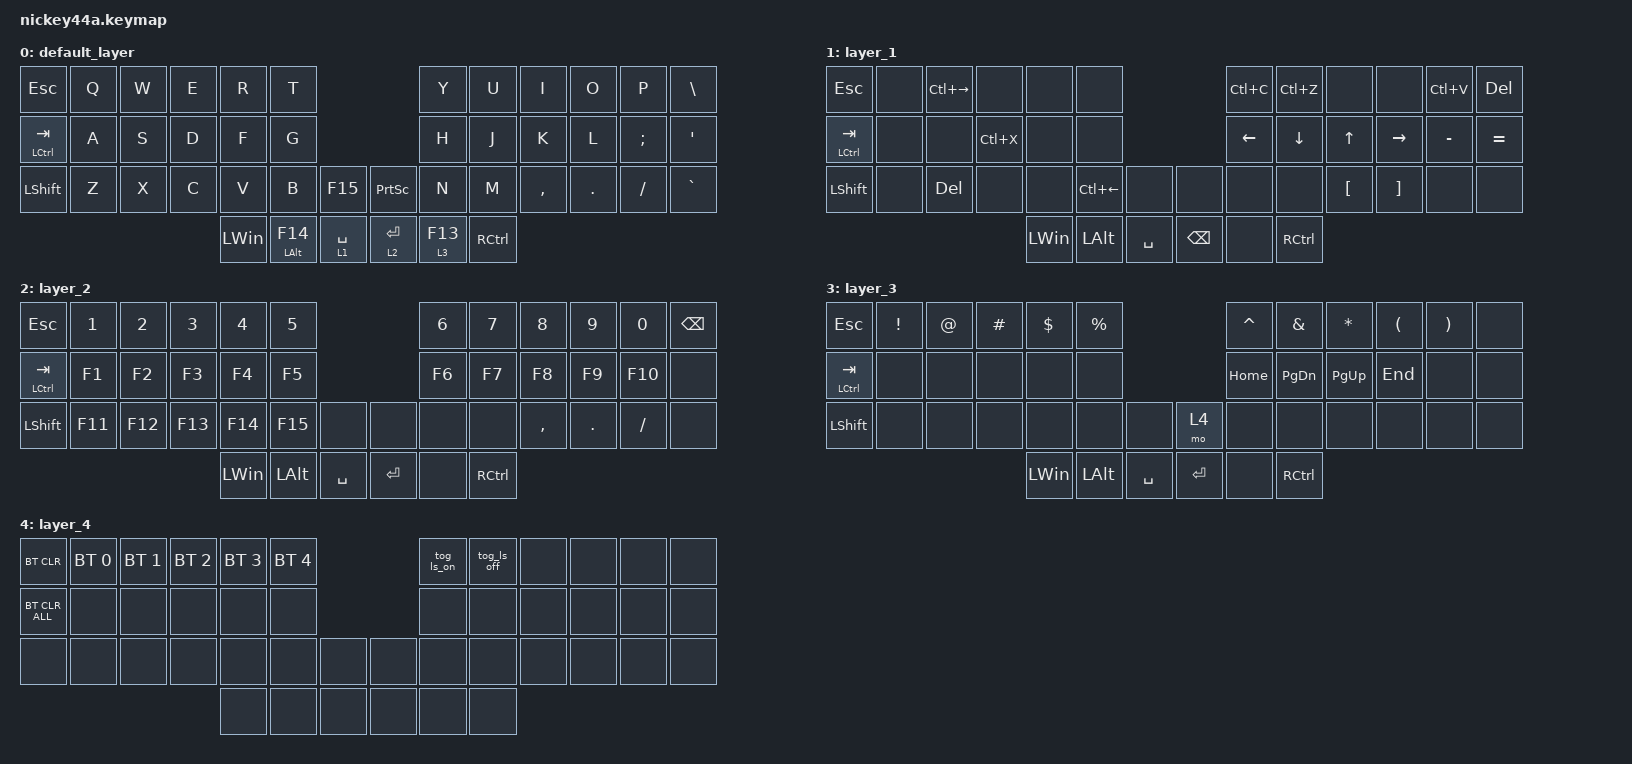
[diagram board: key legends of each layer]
#include <layout_shift.dtsi>
#include <behaviors.dtsi>
#include <dt-bindings/zmk/bt.h>
#include <dt-bindings/zmk/keys.h>

&tog_ls { layout-maps = <&layout_shift_map_us_to_jis>; };

&tog_ls_on { layout-maps = <&layout_shift_map_us_to_jis>; };

&tog_ls_off { layout-maps = <&layout_shift_map_us_to_jis>; };

&mt {
    flavor = "balanced";
    quick-tap-ms = <0>;
};

&lt {
    quick-tap-ms = <300>;
    flavor = "balanced";
};

/ {
    combos { compatible = "zmk,combos"; };

    macros {
        to_layer_0: to_layer_0 {
            compatible = "zmk,behavior-macro-one-param";
            #binding-cells = <1>;
            bindings = <&to 0 &macro_param_1to1 &kp MACRO_PLACEHOLDER>;
            label = "TO_LAYER_0";
        };
    };

    behaviors {
        // Define these after all includes: Keymap Editor may reorder includes.
        // Keep the standard key-press device for ZMK core components.

        original_key_press: original_key_press {
            compatible = "zmk,behavior-key-press";
            #binding-cells = <1>;
            label = "KEY_PRESS";
        };

        // Override &kp here so US-to-JIS conversion survives include sorting.

        kp: key_press {
            compatible = "zmk,behavior-layout-shift-key-press";
            #binding-cells = <1>;
            label = "LAYOUT_SHIFT_KEY_PRESS";
        };

        lt_to_layer_0: lt_to_layer_0 {
            compatible = "zmk,behavior-hold-tap";
            label = "LAYER_TAP_TO_0";
            bindings = <&mo>, <&to_layer_0>;

            #binding-cells = <2>;
            tapping-term-ms = <200>;
        };
    };

    keymap {
        compatible = "zmk,keymap";

        default_layer {
            bindings = <
&kp ESC        &kp Q  &kp W  &kp E  &kp R         &kp T                                             &kp Y      &kp U      &kp I      &kp O    &kp P     &kp BACKSLASH
&mt LCTRL TAB  &kp A  &kp S  &kp D  &kp F         &kp G                                             &kp H      &kp J      &kp K      &kp L    &kp SEMI  &kp SINGLE_QUOTE
&kp LSHFT      &kp Z  &kp X  &kp C  &kp V         &kp B             &kp F15        &kp PRINTSCREEN  &kp N      &kp M      &kp COMMA  &kp DOT  &kp FSLH  &kp GRAVE
                                    &kp LEFT_WIN  &mt LEFT_ALT F14  &lt 1 SPACE    &lt 2 ENTER      &lt 3 F13  &kp RCTRL
            >;
        };

        layer_1 {
            bindings = <
&kp ESCAPE      &none  &kp LC(RIGHT)  &none      &none         &none                                     &kp LC(C)  &kp LC(Z)  &none             &none              &kp LC(V)  &kp DELETE
&mt LCTRL TAB   &none  &none          &kp LC(X)  &none         &none                                     &kp LEFT   &kp DOWN   &kp UP            &kp RIGHT          &kp MINUS  &kp EQUAL
&kp LEFT_SHIFT  &none  &kp DELETE     &none      &none         &kp LC(LEFT)  &none        &none          &none      &none      &kp LEFT_BRACKET  &kp RIGHT_BRACKET  &none      &none
                                                 &kp LEFT_WIN  &kp LEFT_ALT  &kp SPACE    &kp BACKSPACE  &none     &kp RCTRL
            >;
        };

        layer_2 {
            bindings = <
&kp ESCAPE      &kp NUMBER_1  &kp NUMBER_2  &kp NUMBER_3  &kp NUMBER_4  &kp N5                                &kp NUMBER_6  &kp N7     &kp N8  &kp N9  &kp N0        &kp BACKSPACE
&mt LCTRL TAB   &kp F1        &kp F2        &kp F3        &kp F4        &kp F5                                &kp F6        &kp F7     &kp F8  &kp F9  &kp F10       &none
&kp LEFT_SHIFT  &kp F11       &kp F12       &kp F13       &kp F14       &kp F15       &none        &none     &none         &none     &kp COMMA  &kp DOT  &kp FSLH  &none
                                                          &kp LEFT_WIN  &kp LEFT_ALT  &kp SPACE    &kp ENTER  &none         &kp RCTRL
            >;
        };

        layer_3 {
            bindings = <
&kp ESCAPE      &kp EXCLAMATION  &kp AT_SIGN  &kp HASH  &kp DOLLAR    &kp PERCENT                           &kp CARET  &kp AMPERSAND  &kp ASTERISK  &kp LEFT_PARENTHESIS  &kp RIGHT_PARENTHESIS  &none
&mt LCTRL TAB   &none           &none       &none    &none        &none                                &kp HOME   &kp PAGE_DOWN  &kp PG_UP     &kp END               &none                 &none
&kp LEFT_SHIFT  &none           &none       &none    &none        &none        &none       &mo 4      &none     &none         &none        &none                &none                 &none
                                                        &kp LEFT_WIN  &kp LEFT_ALT  &kp SPACE    &kp ENTER  &none      &kp RCTRL
            >;
        };

        layer_4 {
            bindings = <
&bt BT_CLR      &bt BT_SEL 0  &bt BT_SEL 1  &bt BT_SEL 2  &bt BT_SEL 3  &bt BT_SEL 4                    &tog_ls_on  &tog_ls_off  &none  &none  &none  &none
&bt BT_CLR_ALL  &none        &none        &none        &none        &none                          &none      &none       &none  &none  &none  &none
&none          &none        &none        &none        &none        &none        &none    &none  &none      &none       &none  &none  &none  &none
                                                          &none        &none        &none    &none  &none      &none
            >;
        };
    };
};
